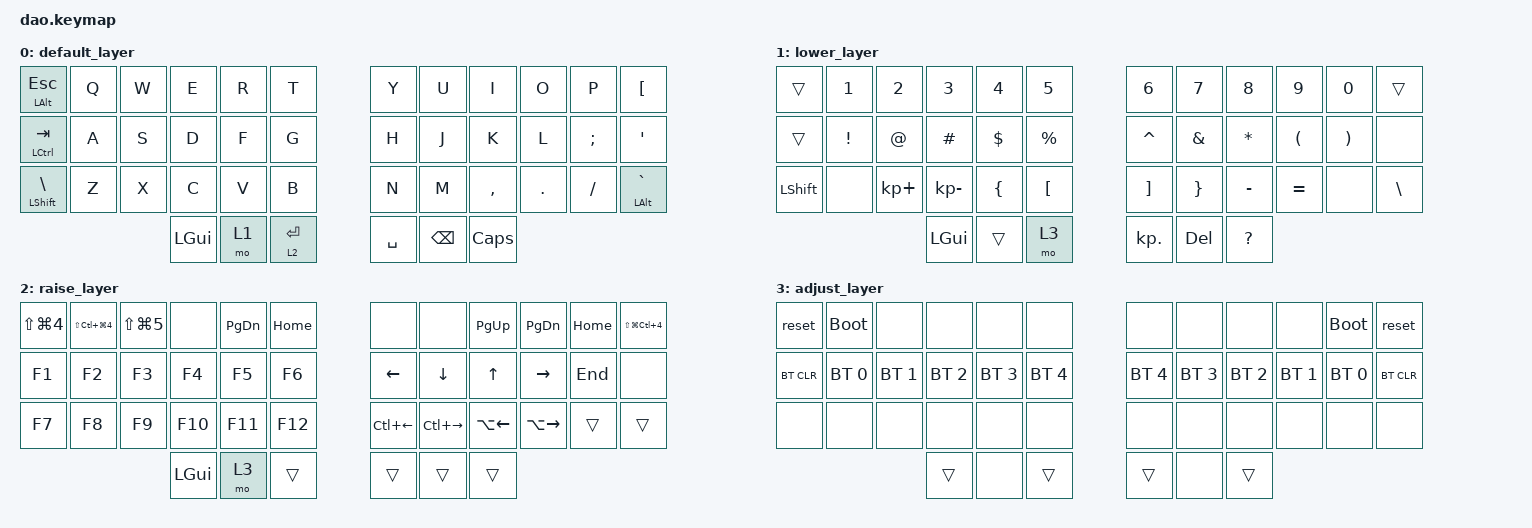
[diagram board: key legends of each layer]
/*
 * Copyright (c) 2020 The ZMK Contributors
 *
 * SPDX-License-Identifier: MIT
 */

#include <behaviors.dtsi>
#include <dt-bindings/zmk/keys.h>
#include <dt-bindings/zmk/bt.h>

#define DEF 0
#define LWR 1
#define RSE 2
#define ADJ 3

&lt {
    quick_tap_ms = <200>;
};

&mt {
    quick_tap_ms = <200>;
};

/ {
    chosen {
        zmk,matrix_transform = &default_transform;

        //zmk,matrix_transform = &extra_key_transform;
    };
};

/ {
    keymap {
        compatible = "zmk,keymap";

        default_layer {
            bindings = <
   &mt LALT ESC  &kp Q  &kp W     &kp E  &kp R      &kp T      &kp Y          &kp U      &kp I    &kp O     &kp P        &kp LBKT
  &mt LCTRL TAB  &kp A  &kp S     &kp D  &kp F      &kp G      &kp H          &kp J      &kp K    &kp L  &kp SEMI         &kp SQT
&mt LSHIFT BSLH  &kp Z  &kp X     &kp C  &kp V      &kp B      &kp N          &kp M  &kp COMMA  &kp DOT  &kp FSLH  &mt LALT GRAVE
                               &kp LGUI  &mo 1  &lt 2 RET  &kp SPACE  &kp BACKSPACE   &kp CAPS
            >;
        };

        lower_layer {
            bindings = <
   &trans    &kp N1       &kp N2        &kp N3          &kp N4            &kp N5             &kp N6           &kp N7     &kp N8                &kp N9                 &kp N0    &trans
   &trans  &kp EXCL       &kp AT      &kp HASH      &kp DOLLAR       &kp PERCENT          &kp CARET         &kp AMPS  &kp ASTRK  &kp LEFT_PARENTHESIS  &kp RIGHT_PARENTHESIS     &none
&kp LSHFT     &none  &kp KP_PLUS  &kp KP_MINUS  &kp LEFT_BRACE  &kp LEFT_BRACKET  &kp RIGHT_BRACKET  &kp RIGHT_BRACE  &kp MINUS             &kp EQUAL                  &none  &kp BSLH
                                      &kp LGUI          &trans             &mo 3         &kp KP_DOT          &kp DEL  &kp QMARK
            >;
        };

        raise_layer {
            bindings = <
&kp LS(LG(N4))  &kp LS(LC(LG(N4)))  &kp LS(LG(N5))     &none  &kp PAGE_DOWN  &kp HOME               &none                &none     &kp PG_UP      &kp PG_DN  &kp HOME  &kp LS(LG(LC(N4)))
        &kp F1              &kp F2          &kp F3    &kp F4         &kp F5    &kp F6            &kp LEFT             &kp DOWN  &kp UP_ARROW      &kp RIGHT   &kp END               &none
        &kp F7              &kp F8          &kp F9   &kp F10        &kp F11   &kp F12  &kp LC(LEFT_ARROW)  &kp LC(RIGHT_ARROW)  &kp LA(LEFT)  &kp LA(RIGHT)    &trans              &trans
                                                    &kp LGUI          &mo 3    &trans              &trans               &trans        &trans
            >;
        };

        adjust_layer {
            bindings = <
    &reset   &bootloader         &none         &none         &none         &none         &none         &none         &none         &none   &bootloader      &reset
&bt BT_CLR  &bt BT_SEL 0  &bt BT_SEL 1  &bt BT_SEL 2  &bt BT_SEL 3  &bt BT_SEL 4  &bt BT_SEL 4  &bt BT_SEL 3  &bt BT_SEL 2  &bt BT_SEL 1  &bt BT_SEL 0  &bt BT_CLR
     &none         &none         &none         &none         &none         &none         &none         &none         &none         &none         &none       &none
                                              &trans         &none        &trans        &trans         &none        &trans
            >;
        };
    };
};
